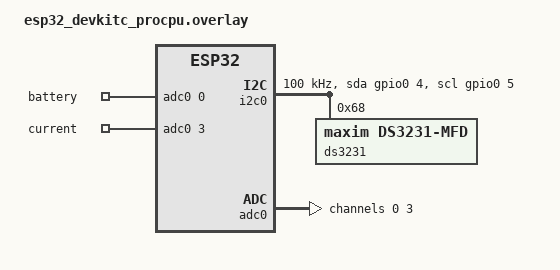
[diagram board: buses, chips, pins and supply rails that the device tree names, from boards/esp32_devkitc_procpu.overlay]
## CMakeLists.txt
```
cmake_minimum_required(VERSION 3.20.0)
find_package(Zephyr REQUIRED HINTS $ENV{ZEPHYR_BASE})
project(mraf)

set(CMAKE_CXX_STANDARD 17)
set(CMAKE_CXX_STANDARD_REQUIRED ON)

set(WEBUI_HEADER ${CMAKE_CURRENT_BINARY_DIR}/webui.h)
add_custom_command(
  OUTPUT ${WEBUI_HEADER}
  COMMAND ${CMAKE_COMMAND} -E make_directory ${CMAKE_CURRENT_BINARY_DIR}
  COMMAND python3 ${CMAKE_CURRENT_SOURCE_DIR}/../../tools/gen_webui.py
          --zephyr --out ${WEBUI_HEADER}
  DEPENDS
    ${CMAKE_CURRENT_SOURCE_DIR}/../../tools/gen_webui.py
    ${CMAKE_CURRENT_SOURCE_DIR}/../../web/index.html
  COMMENT "Generating web UI header"
  VERBATIM
)
add_custom_target(mraf_webui DEPENDS ${WEBUI_HEADER})

zephyr_include_directories(
  ${CMAKE_CURRENT_SOURCE_DIR}/include
  ${CMAKE_CURRENT_SOURCE_DIR}/src
  ${CMAKE_CURRENT_BINARY_DIR}
  ${CMAKE_CURRENT_SOURCE_DIR}/third_party/ArduinoJson
)

zephyr_compile_definitions(
  ARDUINOJSON_ENABLE_ARDUINO_STRING=0
  ARDUINOJSON_ENABLE_STD_STRING=0
  ARDUINOJSON_ENABLE_STD_STREAM=0
  ARDUINOJSON_ENABLE_EXCEPTIONS=0
  ARDUINOJSON_ENABLE_RTTI=0
  ARDUINOJSON_ENABLE_PROGMEM=0
)

set(MRAF_SOURCES
  src/api.cpp
  src/coap_client.cpp
  src/console.cpp
  src/controller.cpp
  src/intent.cpp
  src/main.cpp
  src/mcp.cpp
  src/remote.cpp
  src/settings.cpp
  src/state.cpp
  src/webrtc.cpp
)

if(CONFIG_MRAF_PLATFORM_NATIVE)
  list(APPEND MRAF_SOURCES src/platform_native.cpp)
else()
  list(APPEND MRAF_SOURCES src/platform_esp32.cpp)
endif()

if(CONFIG_MRAF_WEBRTC)
  list(APPEND MRAF_SOURCES src/webrtc_peer.cpp)
endif()

target_sources(app PRIVATE ${MRAF_SOURCES})

zephyr_linker_sources(SECTIONS sections-rom.ld)
zephyr_linker_section(NAME http_resource_desc_mraf_http
  KVMA RAM_REGION GROUP RODATA_REGION)
add_dependencies(app mraf_webui)
```

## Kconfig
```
mainmenu "Neer Kaavalan"

menu "MRAF application"

config MRAF_HTTP_PORT
	int "HTTP server port"
	default 8080 if ARCH_POSIX
	default 80
	range 1 65535

config MRAF_SIMULATOR
	bool "Build the simulator controls (/api/sim/*)"
	default y if ARCH_POSIX
	help
	  Enables the hardware simulation endpoints. They are inert on real
	  hardware but still compiled so the shared API code is identical.

config MRAF_MCP
	bool "Expose the on-device Model Context Protocol endpoint (/mcp)"
	default y
	help
	  Serves a JSON-RPC 2.0 Model Context Protocol endpoint on the device
	  itself so an agent on the LAN can drive the controller without a
	  round-trip through the remote server.

config MRAF_WIREGUARD
	bool "Install the WireGuard overlay pushed by the server"
	default n
	select WIREGUARD
	help
	  When enabled, a WireGuard tunnel configuration received over CoAP is
	  installed into the Zephyr network stack. Requires the native Zephyr
	  WireGuard service and a VPN-capable virtual interface.

config MRAF_WEBRTC
	bool "Serve the dashboard over a WebRTC data channel"
	default n
	help
	  When enabled, the device answers the browser's WebRTC offer and serves
	  dashboard data directly over an encrypted DTLS/SCTP data channel. The
	  remote server only relays the SDP/ICE handshake and runs the STUN
	  server, so live data never passes through it.
	  The DTLS/SCTP transport itself is provided by the target's peer stack
	  (see platform_esp32.cpp); on ESP32 this is the largest RAM consumer, so
	  the option is off by default. The signalling client and command
	  dispatcher are always compiled and remain inert when the transport
	  reports unavailable.

config MRAF_WEBRTC_SDP_MAX
	int "Maximum SDP offer/answer size"
	default 4096
	range 1024 16384

config MRAF_WEBRTC_MSG_MAX
	int "Maximum data-channel message size"
	default 2048
	range 256 16384

config MRAF_SETTINGS_PATH
	string "Configuration file path (native platform only)"
	default "mraf-settings.json"

config MRAF_PLATFORM_NATIVE
	bool "Use the emulated-hardware platform backend (platform_native.cpp)"
	default y if ARCH_POSIX
	help
	  Selects src/platform_native.cpp instead of src/platform_esp32.cpp.
	  Enabled automatically for native_sim; turn it on for QEMU targets
	  such as qemu_x86, which emulate the application without real radio
	  or ADC hardware.

config MRAF_NTP_SERVER
	string "SNTP server used at boot"
	default "pool.ntp.org"

config MRAF_WIFI_COUNTRY
	string "Wi-Fi regulatory country code (ESP32 only)"
	default "IN"
	help
	  ISO/IEC 3166-1 alpha-2 country code applied to the ESP32 radio before
	  scanning and connecting. The chip default ("00", world-safe) only
	  actively scans 2.4 GHz channels 1-11; routers on channels 12 or 13 then
	  look like NO_AP_FOUND (disconnect reason 201). India allows 1-13, which
	  is the default here to match the built-in IST timezone. Set to "00" to
	  keep the world-safe domain instead.

config MRAF_WIFI_BOOT_SCAN
	bool "Scan and log visible 2.4 GHz networks before STA connect (ESP32 only)"
	default y
	help
	  Runs one scan after applying the regulatory domain and logs every SSID,
	  channel and RSSI seen by the ESP32 before the first connection attempt.
	  This makes NO_AP_FOUND (reason 201) diagnosable from the serial log:
	  a missing target means a 5 GHz-only AP, disabled 2.4 GHz radio, hidden
	  SSID or SSID spelling mismatch rather than a Zephyr connect failure.

config MRAF_SETTINGS_JSON_MAX
	int "Maximum persisted configuration size"
	default 4096
	range 1024 65536

config MRAF_HTTP_REQ_MAX
	int "Maximum HTTP request body size"
	default 8192
	range 512 65536

config MRAF_HTTP_RESP_MAX
	int "Maximum HTTP response body size"
	default 8192
	range 1024 131072

endmenu

source "Kconfig.zephyr"
```

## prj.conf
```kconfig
# MRAF farm controller - common Zephyr configuration.
CONFIG_CPP=y
CONFIG_STD_CPP17=y
CONFIG_MAIN_STACK_SIZE=8192
CONFIG_HEAP_MEM_POOL_SIZE=36864
CONFIG_SYSTEM_WORKQUEUE_STACK_SIZE=4096
CONFIG_HTTP_SERVER_STACK_SIZE=8192

# Networking
CONFIG_NETWORKING=y
CONFIG_NET_IPV4=y
CONFIG_NET_IPV6=n
CONFIG_NET_MAX_CONN=16
CONFIG_NET_MAX_CONTEXTS=16
CONFIG_NET_TCP=y
CONFIG_NET_UDP=y
CONFIG_NET_PKT_RX_COUNT=16
CONFIG_NET_PKT_TX_COUNT=16
CONFIG_NET_BUF_RX_COUNT=32
CONFIG_NET_BUF_TX_COUNT=32
CONFIG_NET_SOCKETS=y
CONFIG_DNS_RESOLVER=y
CONFIG_DNS_RESOLVER_MAX_NAME_LEN=64
CONFIG_DNS_RESOLVER_MAX_SERVERS=2
CONFIG_DNS_SERVER_IP_ADDRESSES=y
CONFIG_DNS_SERVER1="8.8.8.8"
CONFIG_DNS_SERVER2="1.1.1.1"
CONFIG_NET_IF_MAX_IPV4_COUNT=2
CONFIG_NET_HOSTNAME_ENABLE=y
CONFIG_NET_HOSTNAME="mraf"
CONFIG_NET_CONFIG_AUTO_INIT=n
CONFIG_NET_CONFIG_SETTINGS=n

# Logging: expose driver Wi-Fi events on the serial console while debugging.
CONFIG_LOG=y
CONFIG_LOG_MODE_MINIMAL=y
CONFIG_WIFI_LOG_LEVEL_DBG=y
CONFIG_NET_MGMT_EVENT_LOG_LEVEL_DBG=y
CONFIG_NET_LOG=y
CONFIG_NET_HTTP_SERVER_LOG_LEVEL_DBG=y
CONFIG_NET_DHCPV4_SERVER_LOG_LEVEL_DBG=y

# Wi-Fi: simultaneous AP+STA on ESP32 (app manages STA retries/fallback)
CONFIG_WIFI_USAGE_MODE_STA_AP=y
CONFIG_ESP32_WIFI_STA_RECONNECT=n
CONFIG_ESP32_WIFI_DEBUG_PRINT=y

# HTTP server
CONFIG_HTTP_SERVER=y
CONFIG_HTTP_SERVER_VERSION_2=n
CONFIG_HTTP_SERVER_VERSION_3=n
CONFIG_HTTP_SERVER_CAPTURE_HEADERS=y
CONFIG_HTTP_SERVER_MAX_CLIENTS=4
CONFIG_HTTP_SERVER_CLIENT_BUFFER_SIZE=1024
CONFIG_MRAF_HTTP_RESP_MAX=16384
CONFIG_BASE64=y


# Time
CONFIG_SNTP=y

# Wi-Fi events (softAP start, scan results, connect/disconnect) are raised as
# net_mgmt events. The default event queue is 5 entries with a 10 ms put
# timeout, and a scan raises one event per AP found: the queue overflows and
# silently drops events (symptom: "0 networks found", softAP event lost).
# Widen the queue and give puts room to wait instead of dropping.
# (Running handlers synchronously in the raiser context was tried and is NOT
# safe here: the ESP32 driver raises events from its own Wi-Fi task, and our
# handlers take network-stack locks the main loop also needs, risking a
# deadlock right at softAP bring-up.)
CONFIG_NET_MGMT_EVENT_QUEUE_SIZE=32
CONFIG_NET_MGMT_EVENT_QUEUE_TIMEOUT=100

# The ESP32 takes its internal Wi-Fi buffers from the system heap. The
# defaults (32 RX + 32 TX) eat ~100 KiB and starve the JSON work the dashboard
# does on every save/status poll (ArduinoJson then fails with "out of
# memory"). 16 buffers are plenty for the dashboard.
CONFIG_ESP32_WIFI_DYNAMIC_RX_BUFFER_NUM=16
CONFIG_ESP32_WIFI_DYNAMIC_TX_BUFFER_NUM=16

# Application features
CONFIG_MRAF_MCP=y
```

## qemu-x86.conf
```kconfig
# qemu_x86: run the MRAF application under upstream QEMU with a real
# Ethernet stack. The emulated intel,e1000 NIC is bridged through QEMU's
# user networking (slirp), and guest port 80 is forwarded to host 18083 so
# the dashboard is reachable from the development machine.
CONFIG_MRAF_PLATFORM_NATIVE=y
CONFIG_MRAF_SIMULATOR=y
CONFIG_MRAF_HTTP_PORT=80

CONFIG_NET_QEMU_USER=y
CONFIG_NET_QEMU_USER_EXTRA_ARGS="hostfwd=tcp::18083-:80"
CONFIG_NET_DHCPV4=y
CONFIG_REQUIRES_FULL_LIBC=y
CONFIG_REBOOT=y
```

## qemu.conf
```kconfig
# QEMU does not emulate the ESP32 radio: the Wi-Fi driver asserts in
# esp_phy_enable() shortly after boot. Build the app without Wi-Fi; the
# controller falls back to AP-mode UI over the (unreachable) HTTP server.
CONFIG_WIFI=n
```

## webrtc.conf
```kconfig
# WebRTC data-channel transport (portable DTLS/SCTP peer).
# RE-ENABLED 2026-11-17 for the demo build.
CONFIG_MRAF_WEBRTC=y
CONFIG_MRAF_WEBRTC_MSG_MAX=6144
CONFIG_PSA_CRYPTO=y
CONFIG_PSA_CRYPTO_PROVIDER_MBEDTLS=y
CONFIG_MBEDTLS=y
CONFIG_MBEDTLS_BUILTIN=y
CONFIG_MBEDTLS_SSL_PROTO_TLS1_2=y
CONFIG_MBEDTLS_SSL_PROTO_DTLS=y
CONFIG_MBEDTLS_X509_CRT_PARSE_C=y
CONFIG_MBEDTLS_PK_PARSE_C=y
CONFIG_MBEDTLS_PEM_PARSE_C=y
CONFIG_MBEDTLS_CTR_DRBG_C=y
CONFIG_MBEDTLS_ENTROPY_C=y
CONFIG_PSA_WANT_ALG_ECDH=y
CONFIG_PSA_WANT_ALG_ECDSA=y
CONFIG_PSA_WANT_ALG_GCM=y
CONFIG_PSA_WANT_ALG_SHA_1=y
CONFIG_PSA_WANT_ECC_SECP_R1_256=y
CONFIG_PSA_WANT_KEY_TYPE_AES=y
CONFIG_PSA_WANT_KEY_TYPE_HMAC=y
CONFIG_PSA_WANT_KEY_TYPE_ECC_PUBLIC_KEY=y
CONFIG_PSA_WANT_KEY_TYPE_ECC_KEY_PAIR_IMPORT=y
CONFIG_PSA_WANT_KEY_TYPE_ECC_KEY_PAIR_EXPORT=y
CONFIG_PSA_WANT_KEY_TYPE_ECC_KEY_PAIR_GENERATE=y
CONFIG_MBEDTLS_KEY_EXCHANGE_ECDHE_ECDSA_ENABLED=y
CONFIG_PSA_WANT_ALG_TLS12_PRF=y
CONFIG_PSA_WANT_KEY_TYPE_DERIVE=y
CONFIG_PSA_WANT_ALG_HMAC=y
CONFIG_MRAF_WEBRTC_SDP_MAX=1024
# Keep the AES lookup tables in flash to reclaim ~8 KB of DRAM.
CONFIG_MBEDTLS_AES_ROM_TABLES=y

# WebRTC build is DRAM-tight on ESP32; keep stacks/heap conservative to fit.
# Subsystem minimums keep the real system heap near 56 KB regardless of
# CONFIG_HEAP_MEM_POOL_SIZE, so trim the peer TX buffer instead.
CONFIG_MAIN_STACK_SIZE=6144
CONFIG_HTTP_SERVER_STACK_SIZE=6144
CONFIG_SYSTEM_WORKQUEUE_STACK_SIZE=3072
CONFIG_HEAP_MEM_POOL_SIZE=32768
```

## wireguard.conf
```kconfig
# Optional build fragment: enable the WireGuard overlay on the ESP32 target.
#
#   west build -b esp32_devkitc/esp32/procpu \
#       -- -DEXTRA_CONF_FILE=wireguard.conf
#
# The server pushes a complete tunnel description over CoAP; when this fragment
# is present the device installs it into the Zephyr network stack (see
# mraf_platform_wireguard_apply()). The default build stores the configuration
# but does not bring the tunnel up, which keeps the flash image small.

CONFIG_MRAF_WIREGUARD=y

# WireGuard service. One peer (the MRAF server) and one allowed /24.
CONFIG_WIREGUARD=y
CONFIG_WIREGUARD_MAX_PEER=1
CONFIG_WIREGUARD_MAX_SRC_IPS=1

# The VPN traffic needs a few extra interfaces and buffers on top of the
# Wi-Fi station + softAP pair.
CONFIG_NET_IF_MAX_IPV4_COUNT=3
CONFIG_NET_IF_UNICAST_IPV4_ADDR_COUNT=2
CONFIG_NET_MAX_CONTEXTS=8
CONFIG_NET_PKT_RX_COUNT=16
CONFIG_NET_PKT_TX_COUNT=16
CONFIG_NET_BUF_RX_COUNT=32
CONFIG_NET_BUF_TX_COUNT=32

# Crypto used by the WireGuard handshake.
CONFIG_PSA_CRYPTO=y
CONFIG_MBEDTLS_PSA_CRYPTO_C=y
CONFIG_MBEDTLS_PSA_CRYPTO_EXTERNAL_RNG=n
```

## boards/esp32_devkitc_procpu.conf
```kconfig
# ESP32 target-specific configuration for the MRAF controller.
CONFIG_MRAF_HTTP_PORT=80
CONFIG_MRAF_SIMULATOR=n
CONFIG_MRAF_NTP_SERVER="pool.ntp.org"

# Keep .noinit in the second DRAM bank. MCUboot builds would otherwise spill
# it into dram0 and overflow the 192 KiB bank.
CONFIG_ESP32_REGION_1_NOINIT=y

# Wi-Fi station + access point coexistence (app-managed STA retries/fallback)
CONFIG_WIFI=y
CONFIG_WIFI_ESP32=y
CONFIG_WIFI_NM=y
CONFIG_WIFI_USAGE_MODE_STA_AP=y
CONFIG_ESP32_WIFI_AP_STA_MODE=y
CONFIG_ESP32_WIFI_STA_RECONNECT=n
# Fast scan stops at the first matching AP; routers with more than one BSSID
# (extender/mesh) or a weak primary can then be reported as NO_AP_FOUND (201).
CONFIG_ESP32_WIFI_STA_SCAN_ALL=y
CONFIG_NET_DHCPV4=y
CONFIG_NET_DHCPV4_SERVER=y
CONFIG_NET_CONNECTION_MANAGER=n
CONFIG_ZVFS_POLL_MAX=8

# mDNS / DNS-SD
CONFIG_MDNS_RESPONDER=y
CONFIG_DNS_SD=y
CONFIG_MDNS_RESPONDER_DNS_SD=y

# Persistence
CONFIG_SETTINGS=y
CONFIG_SETTINGS_NVS=y
CONFIG_NVS=y
CONFIG_FLASH=y
CONFIG_FLASH_MAP=y

# The Espressif Wi-Fi/WPA supplicant sources need a complete C library
# (fopen/fgets/fclose and mktime), which minimal libc does not provide.
CONFIG_REQUIRES_FULL_LIBC=y

# Hardware
CONFIG_ADC=y
CONFIG_MFD=y
CONFIG_MFD_DS3231=y
CONFIG_RTC=y
CONFIG_RTC_DS3231=y
CONFIG_GPIO=y
CONFIG_HWINFO=y

# Ensure stacks are large enough for settings/JSON handling on ESP32.
CONFIG_MAIN_STACK_SIZE=8192
CONFIG_HTTP_SERVER_STACK_SIZE=8192
```

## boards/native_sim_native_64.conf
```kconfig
# native_sim test target configuration for the MRAF controller.
CONFIG_MRAF_HTTP_PORT=8080
CONFIG_MRAF_SIMULATOR=y
CONFIG_MRAF_SETTINGS_PATH="mraf-settings.json"
CONFIG_MRAF_NTP_SERVER="pool.ntp.org"

# Use the host's socket stack instead of a simulated Ethernet driver.
CONFIG_ETH_NATIVE_TAP=n
CONFIG_NET_DRIVERS=y
CONFIG_NET_SOCKETS=y
CONFIG_ZVFS_POLL_MAX=8
CONFIG_NET_SOCKETS_OFFLOAD=y
CONFIG_NET_NATIVE_OFFLOADED_SOCKETS=y
CONFIG_NET_IPV6_DAD=n
CONFIG_NET_DHCPV4=n
CONFIG_NET_CONFIG_NEED_IPV4=n
CONFIG_NET_CONFIG_NEED_IPV6=n
CONFIG_NET_CONNECTION_MANAGER=n
CONFIG_REBOOT=y

# No L2 interface exists for mDNS with offloaded sockets.
CONFIG_MDNS_RESPONDER=n
CONFIG_DNS_SD=n
CONFIG_SNTP=n
```

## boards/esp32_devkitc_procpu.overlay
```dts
/*
 * MRAF farm controller hardware mapping for the ESP32-DevKitC.
 *
 * The stock devkit devicetree reserves GPIO16/17 for PSRAM. The WROOM module
 * used by this controller has no PSRAM and needs those pins for relay
 * channels 2 and 3, so the reservation is relaxed below.
 */
#include <zephyr/dt-bindings/adc/adc.h>
#include <zephyr/dt-bindings/gpio/gpio.h>
#include <zephyr/dt-bindings/i2c/i2c.h>
#include <zephyr/dt-bindings/pinctrl/esp32-pinctrl.h>

/ {
	zephyr,user {
		io-channels = <&adc0 0>, <&adc0 3>;
		io-channel-names = "battery", "current";
	};
};

&gpio0 {
	/* Free GPIO16/17 (relay 2 and 3); keep flash and unusable pins reserved. */
	gpio-reserved-ranges = <6 6>, <20 1>, <24 1>, <28 4>;
};

&pinctrl {
	i2c0_mraf: i2c0_mraf {
		group1 {
			pinmux = <I2C0_SDA_GPIO4>, <I2C0_SCL_GPIO5>;
			bias-pull-up;
			drive-open-drain;
		};
	};
};

&i2c0 {
	status = "okay";
	clock-frequency = <I2C_BITRATE_STANDARD>;
	pinctrl-0 = <&i2c0_mraf>;
	pinctrl-names = "default";
	sda-gpios = <&gpio0 4 GPIO_OPEN_DRAIN>;
	scl-gpios = <&gpio0 5 GPIO_OPEN_DRAIN>;

	ds3231: ds3231@68 {
		compatible = "maxim,ds3231-mfd";
		reg = <0x68>;
		status = "okay";

		ds3231_rtc: ds3231_rtc {
			compatible = "maxim,ds3231-rtc";
			status = "okay";
		};
	};
};

&adc0 {
	status = "okay";
	#address-cells = <1>;
	#size-cells = <0>;

	channel@0 {
		reg = <0>;
		zephyr,gain = "ADC_GAIN_1_4";
		zephyr,reference = "ADC_REF_INTERNAL";
		zephyr,acquisition-time = <ADC_ACQ_TIME_DEFAULT>;
		zephyr,resolution = <12>;
	};

	channel@3 {
		reg = <3>;
		zephyr,gain = "ADC_GAIN_1_4";
		zephyr,reference = "ADC_REF_INTERNAL";
		zephyr,acquisition-time = <ADC_ACQ_TIME_DEFAULT>;
		zephyr,resolution = <12>;
	};
};
```

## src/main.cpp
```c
// MRAF farm controller - Zephyr RTOS application entry point.
#include <stdio.h>
#include <string.h>
#include <time.h>

#if !defined(CONFIG_ARCH_POSIX)
#include <zephyr/drivers/hwinfo.h>
#endif
#include <zephyr/kernel.h>
#include <zephyr/random/random.h>

#include "api.h"
#include "config.h"
#include "mraf_platform.h"
#include "mraf_storage.h"
#include "mraf_state.h"
#include "remote.h"
#include "settings.h"
#include "webrtc.h"

static void ensureDeviceId(void)
{
    if (g_cfg.device_id[0] != '\0') {
        return;
    }
#if defined(CONFIG_ARCH_POSIX) || !defined(CONFIG_HWINFO)
    snprintf(g_cfg.device_id, sizeof(g_cfg.device_id), "SIM-%08X",
             sys_rand32_get());
#else
    uint8_t id[8] = {0};
    ssize_t n = hwinfo_get_device_id(id, sizeof(id));
    if (n >= 3) {
        snprintf(g_cfg.device_id, sizeof(g_cfg.device_id), "ESP32-%02X%02X%02X",
                 id[0], id[1], id[2]);
    } else {
        snprintf(g_cfg.device_id, sizeof(g_cfg.device_id), "SIM-%08X",
                 sys_rand32_get());
    }
#endif
    settingsSave(g_cfg);
}

static void updateStatusLed(void)
{
    bool connected = false;
    mraf_platform_net_info(&connected, nullptr, 0, nullptr, 0, nullptr);
    bool on;
    if (mraf_platform_is_ap_mode()) {
        on = ((k_uptime_get() / 250) % 2) == 0;
    } else if (connected) {
        on = ((k_uptime_get() / 1000) % 2) == 0;
    } else {
        on = ((k_uptime_get() / 120) % 2) == 0;
    }
    mraf_platform_led(on);
}

int main(void)
{
    printk("MRAF %s: booting\n", FW_VERSION);

    mraf_platform_init();
    printk("MRAF: platform init done\n");

    mraf_storage_init();
    printk("MRAF: storage init done\n");

    mraf_state_init();
    printk("MRAF: settings/state init done (ssid=\"%s\")\n", g_cfg.wifi_ssid);

    ensureDeviceId();
    g_ctrl.applyConfig(g_cfg);

    time_t base = time(nullptr);
    time_t rtc = 0;
    time_t persisted = 0;
    bool rtc_ok = mraf_platform_rtc_begin() && mraf_platform_rtc_read(&rtc) &&
                  rtc > 1700000000;
    bool persisted_ok = mraf_platform_persistent_time_read(&persisted) &&
                        persisted > 1700000000;
    if (rtc_ok) {
        base = rtc;
        printk("RTC time: %s\n", localTimeString(rtc).c_str());
    } else if (persisted_ok) {
        base = persisted;
        printk("Persistent time: %s\n", localTimeString(persisted).c_str());
    } else if (!mraf_platform_is_simulator()) {
        printk("RTC/persistent time unavailable; waiting for NTP/manual time\n");
    }
    mraf_clock_init(base);
    if (mraf_platform_is_simulator()) {
        mraf_set_time_speed(60 * 1000);
    }
    mraf_tick_reset();

    mraf_remote_init();
    mraf_webrtc_init();
    k_mutex_lock(&g_state_lock, K_FOREVER);
    g_ctrl.addEvent("system", "boot", mraf_now());
    k_mutex_unlock(&g_state_lock);

    printk("MRAF: starting network (AP+STA)\n");
    mraf_platform_start_network(g_cfg);
    printk("MRAF: network start requested\n");

    mraf_api_init();
    mraf_api_start();
    mraf_remote_start();
    mraf_webrtc_start();

    printk("MRAF %s on %s, HTTP port %d, device %s\n", FW_VERSION,
           mraf_platform_name(), mraf_api_port(), g_cfg.device_id);

    int64_t last_time_persist_ms = k_uptime_get();
    while (1) {
        mraf_platform_poll_network();
        mraf_tick_catchup();
        mraf_service_pulses();
        updateStatusLed();
        if (mraf_time_valid() &&
            k_uptime_get() - last_time_persist_ms >= 10 * 60 * 1000) {
            mraf_platform_persistent_time_write(mraf_now());
            last_time_persist_ms = k_uptime_get();
        }
        k_msleep(10);
    }
    return 0;
}
```

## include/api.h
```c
#pragma once
#include <stdint.h>


#ifdef __cplusplus
extern "C" {
#endif

void mraf_api_init(void);
void mraf_api_start(void);
uint16_t mraf_api_port(void);

#ifdef __cplusplus
}
#endif
```

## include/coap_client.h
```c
// Minimal CoAP confirmable POST client for a JSON endpoint.
#pragma once

#include <stdint.h>
#include <stddef.h>

#ifdef __cplusplus
extern "C" {
#endif

int coapPost(const char *host, uint16_t port, const char *path,
             const char *payload, char *response, size_t response_cap,
             unsigned long timeout_ms);

int coapLastErrno(void);

#ifdef __cplusplus
}
#endif
```

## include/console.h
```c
// On-device console command runner used by the remote CoAP "console" request.
//
// On a board with a UART shell (CONFIG_SHELL) the same command set is also
// reachable locally on the serial port; this module gives the server a way to
// run those commands over the encrypted CoAP/WireGuard link.
#pragma once

#include <stddef.h>

#ifdef __cplusplus
extern "C" {
#endif

// Execute a shell command and write up to out_len - 1 bytes of output into
// out (always NUL-terminated). Returns the number of bytes written.
//
// The caller must hold g_state_lock, because relay/pump commands mutate state.
size_t mraf_console_run(const char *command, char *out, size_t out_len);

#ifdef __cplusplus
}
#endif
```

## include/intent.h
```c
// Deterministic, offline intent grammar shared by the on-device chat endpoint
// and the MCP "chat" tool. This mirrors the Java IntentParser so a phrase
// behaves identically whether it is spoken to the device or to the server.
#pragma once

#include <stdint.h>
#include <stdbool.h>
#include <time.h>

#include <ArduinoJson.h>

#include "mraf_compat.h"

#ifdef __cplusplus
extern "C" {
#endif

struct MrafIntent {
    const char *action;     // "control" | "status" | "data" | "help" | "unknown"
    const char *target;     // "relay" | "pump" | "all"
    uint8_t relay_id;       // 1..12 when target == relay
    const char *mode;       // "auto" | "on" | "off"
    int pulse_ms;           // 0 when unused
    int boost_min;          // 0 when unused
    bool understood;
    char reply[160];
};

// Parse a phrase into an intent. Never fails: an unrecognised phrase yields an
// "unknown" intent with a help reply.
void mraf_intent_parse(const char *text, MrafIntent &out);

// Execute a parsed intent against the local controller. Caller holds the state
// lock. Returns true when a control action was applied; "status"/"data"/"help"
// intents need no execution.
bool mraf_intent_apply(const MrafIntent &intent, time_t now, String &error);

#ifdef __cplusplus
}
#endif
```

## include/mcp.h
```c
// On-device Model Context Protocol endpoint (JSON-RPC 2.0, JSON response mode).
// Exposes the same controller capabilities as the server-side MCP bridge so an
// agent on the LAN can drive the device directly.
#pragma once

#include <stdbool.h>

#include <ArduinoJson.h>

#ifdef __cplusplus
extern "C" {
#endif

// Handle one JSON-RPC request. Fills `response` and returns true when a reply
// is due; returns false for notifications (the caller answers 202).
bool mraf_mcp_handle(JsonDocument &request, JsonDocument &response);

#ifdef __cplusplus
}
#endif
```

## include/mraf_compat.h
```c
// MRAF Zephyr port - small Arduino compatibility layer.
//
// The controller, model and settings code is shared with the original
// Arduino firmware. Only the tiny surface the controller needs (GPIO, millis)
// and a fixed-size String used for validation messages are provided here.
#pragma once

#include <stdint.h>
#include <stddef.h>
#include <stdbool.h>
#include <stdio.h>
#include <stdlib.h>
#include <string.h>
#include <time.h>

#include <zephyr/kernel.h>

#include "mraf_hal.h"

#ifndef LOW
#define LOW 0
#define HIGH 1
#endif
#ifndef INPUT
#define INPUT 0
#define OUTPUT 1
#define INPUT_PULLUP 2
#endif
#ifndef PROGMEM
#define PROGMEM
#endif

// Fixed-capacity String replacement. It deliberately avoids the C++ standard
// library so the same source builds for xtensa (no libstdc++) and native_sim.
class String {
public:
    String() { buf_[0] = '\0'; len_ = 0; }
    String(const char *s) { assign(s); }
    String(const String &o) { assign(o.buf_); }
    String &operator=(const char *s) { assign(s); return *this; }
    String &operator=(const String &o) { assign(o.c_str()); return *this; }

    const char *c_str() const { return buf_; }
    unsigned int length() const { return len_; }
    char operator[](size_t i) const { return buf_[i]; }
    bool operator==(const char *s) const { return strcmp(buf_, s) == 0; }
    bool operator!=(const char *s) const { return !(*this == s); }
    operator const char *() const { return buf_; }

    bool concat(const char *s) {
        if (!s) return false;
        size_t add = strlen(s);
        if (len_ + add >= kCap) add = kCap - 1 - len_;
        memcpy(buf_ + len_, s, add);
        len_ = (unsigned int)(len_ + add);
        buf_[len_] = '\0';
        return add > 0;
    }
    bool concat(const String &s) { return concat(s.c_str()); }
    String &operator+=(const char *s) { concat(s); return *this; }
    String &operator+=(const String &s) { concat(s.c_str()); return *this; }

private:
    static const size_t kCap = 192;
    char buf_[kCap];
    unsigned int len_;

    void assign(const char *s) {
        if (!s) s = "";
        size_t n = strlen(s);
        if (n >= kCap) n = kCap - 1;
        memcpy(buf_, s, n);
        buf_[n] = '\0';
        len_ = (unsigned int)n;
    }
};

inline String operator+(String a, const char *b) { a.concat(b); return a; }
inline String operator+(String a, const String &b) { a.concat(b.c_str()); return a; }
inline String operator+(String a, int v) {
    char tmp[16];
    snprintf(tmp, sizeof(tmp), "%d", v);
    a.concat(tmp);
    return a;
}
inline String operator+(String a, unsigned int v) {
    char tmp[16];
    snprintf(tmp, sizeof(tmp), "%u", v);
    a.concat(tmp);
    return a;
}

inline void pinMode(uint8_t pin, uint8_t mode) { mraf_gpio_config(pin, mode); }
inline void digitalWrite(uint8_t pin, uint8_t value) { mraf_gpio_write(pin, value); }
inline int digitalRead(uint8_t pin) { return mraf_gpio_read(pin); }
inline unsigned long millis() { return (unsigned long)k_uptime_get_32(); }
inline void delay(unsigned long ms) { k_msleep((int32_t)ms); }
inline void yield() { k_yield(); }

// Zephyr's minimal libc localtime_r is UTC-only. The controller logic is
// wall-clock local-time based, so route every call through the MRAF POSIX-TZ
// aware implementation.
struct tm *mraf_localtime_r(const time_t *t, struct tm *out);
#define localtime_r(t, out) mraf_localtime_r((t), (out))
```

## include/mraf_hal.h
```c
// Low-level GPIO/millis HAL implemented per platform.
#pragma once

#include <stdint.h>

#ifdef __cplusplus
extern "C" {
#endif

void mraf_gpio_config(uint8_t pin, uint8_t mode);
void mraf_gpio_write(uint8_t pin, uint8_t level);
int mraf_gpio_read(uint8_t pin);
unsigned long mraf_gpio_millis(void);

#ifdef __cplusplus
}
#endif
```

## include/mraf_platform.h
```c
// Platform abstraction: everything that differs between the ESP32 target and
// the native_sim test target lives behind these calls.
#pragma once

#include <stdint.h>
#include <stddef.h>
#include <stdbool.h>
#include <time.h>

#include <ArduinoJson.h>

struct Config;
struct WireGuardConfig;

void mraf_platform_init(void);
void mraf_platform_start_network(const Config &cfg);
void mraf_platform_poll_network(void);

const char *mraf_platform_name(void);
bool mraf_platform_is_simulator(void);
bool mraf_platform_is_ap_mode(void);

void mraf_platform_net_info(bool *connected, char *ip, size_t ip_cap,
                            char *ssid, size_t ssid_cap, int *rssi);
void mraf_platform_wifi_scan(JsonDocument &doc);

bool mraf_platform_time_sync(void);
void mraf_platform_set_epoch(time_t t);
void mraf_set_timezone(const char *tz);

bool mraf_platform_rtc_begin(void);
bool mraf_platform_rtc_read(time_t *out);
void mraf_platform_rtc_write(time_t t);
bool mraf_platform_persistent_time_read(time_t *out);
void mraf_platform_persistent_time_write(time_t t);

void mraf_platform_led(bool on);
void mraf_platform_restart(void);

// Bring the WireGuard overlay up (or tear it down) from a server-supplied
// configuration. Returns true when the tunnel was applied to the network
// stack, false when WireGuard support is not compiled in.
bool mraf_platform_wireguard_apply(const WireGuardConfig &cfg);
bool mraf_platform_wireguard_active(void);

// WebRTC data-channel transport. Signalling and command dispatch live in
// webrtc.cpp; only the DTLS/SCTP transport is platform specific.
//
// The browser is the offerer, so mraf_platform_webrtc_start() takes the remote
// SDP offer and must return the local answer SDP (with ICE candidates already
// gathered into it). The rx callback is invoked for every complete JSON
// message that arrives on the data channel.
typedef void (*mraf_webrtc_rx_cb)(const char *message);

// Runtime ICE/TURN state for the dashboard. Filled by the portable peer;
// harmless when WebRTC is compiled out (all fields zero/false).
struct mraf_ice_info {
    bool stun_ok;
    bool srflx;
    bool turn_allocated;
    bool relay_path;
    char srflx_addr[40];
    char relay_addr[40];
    char turn_error[48];
};

bool mraf_platform_webrtc_available(void);
bool mraf_platform_webrtc_start(const char *offer_sdp, char *answer_sdp,
                                size_t answer_cap);
void mraf_platform_webrtc_stop(void);
bool mraf_platform_webrtc_open(void);
int mraf_platform_webrtc_send(const char *message);
char *mraf_platform_webrtc_tx_begin(size_t *cap);
int mraf_platform_webrtc_tx_end(size_t len);
void mraf_platform_webrtc_set_rx(mraf_webrtc_rx_cb cb);
// Feed a trickled ICE candidate so the TURN client can create the relay
// permission before the browser starts connectivity checks.
void mraf_platform_webrtc_add_candidate(const char *candidate);
void mraf_platform_webrtc_ice_info(struct mraf_ice_info *out);

bool mraf_platform_mains_present(void);
bool mraf_platform_read_tank_full(bool active_low);
bool mraf_platform_read_sump_dry(bool active_low);
float mraf_platform_read_current_a(bool pump_commanded_on);
float mraf_platform_read_battery_v(void);

// Simulator-only controls exposed by /api/sim/* on native_sim.
void mraf_sim_init(void);
void mraf_sim_set_power(bool present);
void mraf_sim_set_sensors(bool tank_full, bool sump_dry);
void mraf_sim_set_current(float amps);
void mraf_sim_set_battery(float volts);
bool mraf_sim_power(void);
bool mraf_sim_tank_full(void);
bool mraf_sim_sump_dry(void);
float mraf_sim_current(void);
float mraf_sim_battery(void);
bool mraf_sim_current_is_auto(void);
void mraf_sim_set_current_auto(void);
```

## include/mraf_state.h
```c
// Shared controller state and the APIs that the HTTP/CoAP front-ends call.
#pragma once

#include <time.h>

#include <ArduinoJson.h>

#include "mraf_compat.h"

#include <zephyr/kernel.h>

#include "model.h"
#include "controller.h"

extern Config g_cfg;
extern Controller g_ctrl;
extern struct k_mutex g_state_lock;

void mraf_state_init(void);
void mraf_sim_set_defaults(void);
void mraf_clock_init(time_t base);
time_t mraf_now(void);
void mraf_set_now(time_t t);
void mraf_advance_time(int64_t seconds);
int32_t mraf_time_speed(void);
void mraf_set_time_speed(int32_t speed);
bool mraf_time_valid(void);
void mraf_tick_catchup(void);
void mraf_apply_inputs_locked(time_t now);
void mraf_tick_reset(void);
void mraf_service_pulses(void);

// Serialize the full dashboard status document.
void mraf_build_status(JsonDocument &doc);
void mraf_build_remote_data(JsonObject data, time_t now);

// Apply a control command ("relay"/"pump"/"all"). Caller holds g_state_lock.
bool mraf_apply_control(JsonObject cmd, time_t now, String &error);
```

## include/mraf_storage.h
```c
// Persistent configuration blob (Zephyr settings/NVS on ESP32, file on
// native_sim).
#pragma once

#include <stddef.h>
#include <stdbool.h>

#ifdef __cplusplus
extern "C" {
#endif

#ifndef CONFIG_MRAF_SETTINGS_JSON_MAX
#define CONFIG_MRAF_SETTINGS_JSON_MAX 8192
#endif

bool mraf_storage_load(char *buf, size_t cap);
bool mraf_storage_save(const char *json);
void mraf_storage_init(void);

#ifdef __cplusplus
}
#endif
```

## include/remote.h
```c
// Remote control/telemetry exchange with the MRAF Spring Boot server over CoAP.
#pragma once

#include <stdbool.h>

#include <ArduinoJson.h>

#ifdef __cplusplus
extern "C" {
#endif

void mraf_remote_init(void);
void mraf_remote_start(void);
void mraf_remote_build_status(JsonObject rem);
bool mraf_remote_confirmed(void);
bool mraf_remote_has_pending(void);

#ifdef __cplusplus
}
#endif
```

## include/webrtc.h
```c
// WebRTC peer-to-peer link with the browser dashboard.
//
// The device is always the *answerer*: the browser creates the data channel,
// posts an SDP offer to the server, and the device answers. This module is the
// control plane only - it talks HTTP to the server's signalling endpoints
// (GET /api/webrtc/config, GET/POST /api/webrtc/signal, POST /api/webrtc/report)
// and dispatches the JSON commands that arrive on the data channel.
//
// The DTLS/SCTP transport itself lives behind the mraf_platform_webrtc_* calls
// so the same signalling and dispatch logic is shared by the ESP32 target and
// the native_sim test build (which has no transport and reports unavailable).
#pragma once

#include <stdbool.h>

#include <ArduinoJson.h>

#ifdef __cplusplus
extern "C" {
#endif

void mraf_webrtc_init(void);
void mraf_webrtc_start(void);

// Forget the cached control-plane config so the next poll re-reads
// GET /api/webrtc/config. Called when the operator saves new WebRTC settings.
void mraf_webrtc_config_changed(void);

// Describe the peer link for the /api/status document (also what the server
// sees in the CoAP status payload).
void mraf_webrtc_build_status(JsonObject out);

#ifdef __cplusplus
}
#endif
```
